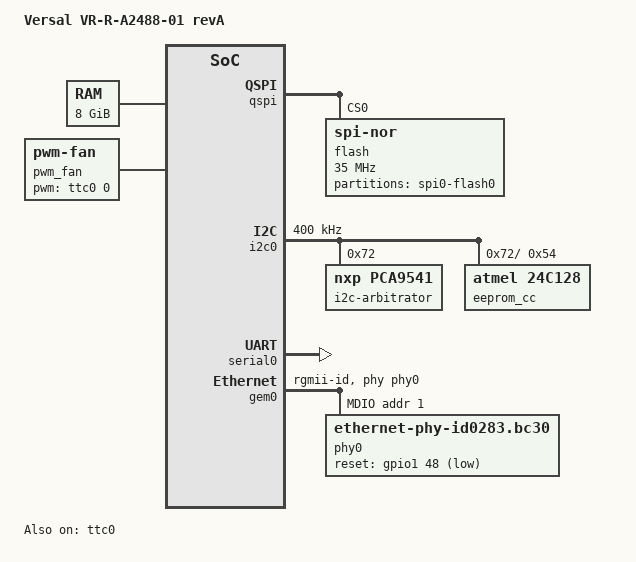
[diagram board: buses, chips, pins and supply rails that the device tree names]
// SPDX-License-Identifier: GPL-2.0
/*
 * dts file for Xilinx Versal VR-R-A2488-01-revA
 *
 * (C) Copyright 2025, Advanced Micro Devices, Inc.
 *
 * Michal Simek <michal.simek@amd.com>
 */

#include <dt-bindings/gpio/gpio.h>
#include "versal.dtsi"
#include "versal-clk.dtsi"

/ {
	compatible = "xlnx,versal-vr-r-a2488-01-revA",
		     "xlnx,versal-vr-r-a2488-01", "xlnx,versal";
	model = "Versal VR-R-A2488-01 revA";

	memory: memory@0 {
		device_type = "memory";
		/* TODO board should have 4 * 4GB */
		reg = <0 0 0 0x80000000>, <0x8 0x00000000 0x1 0x80000000>; /* 2GB + 6GB */
	};

	chosen {
		bootargs = "console=ttyAMA0 earlycon=pl011,mmio32,0xFF000000,115200n8";
		stdout-path = "serial0:115200";
	};

	aliases {
		spi0 = &qspi;
		serial0 = &serial0;
		serial2 = &dcc;
		i2c0 = &i2c0;
		rtc0 = &rtc;
		nvmem0 = &eeprom;
	};

	pwm_fan: pwm-fan {
		compatible = "pwm-fan";
		status = "okay";
		pwms = <&ttc0 0 40000 0>; /* TODO check polarity */
	};
};

&ttc0 { /* LPD MIO21 PWM, LPD MIO22 TACH */
	status = "okay";
	#pwm-cells = <3>;
};

&qspi { /* PMC MIO0 - 12, u1760/u1761 MT25QU01G - dual parallel */
	status = "okay"; /* u93 and u92 */
	num-cs = <2>;
	spi-rx-bus-width = <4>;
	spi-tx-bus-width = <4>;

	flash@0 {
		compatible = "jedec,spi-nor";
		reg = <0>, <1>;
		parallel-memories = /bits/ 64 <0x8000000 0x8000000>; /* 128MB */
		spi-tx-bus-width = <4>;
		spi-rx-bus-width = <4>;
		spi-max-frequency = <35000000>;
		partitions {
			compatible = "fixed-partitions";
			#address-cells = <1>;
			#size-cells = <1>;
			partition@0 {
				label = "spi0-flash0";
				reg = <0x0 0x10000000>;
			};
		};
	};
};

&i2c0 { /* PMC_MIO26/27 */
	status = "okay";
	/* J182 2-3 enable u485 */
	bootph-all;
	clock-frequency = <400000>;

	i2c-arbitrator@72 { /* u1804 */
		compatible = "nxp,pca9541";
		reg = <0x72>;

		i2c_arb: i2c-arb {
			#address-cells = <1>;
			#size-cells = <0>;

			eeprom: eeprom@54 { /* u486 - required by spec */
				compatible = "atmel,24c128";
				label = "eeprom_cc";
				reg = <0x54>;
			};
		};
	};

};

&serial0 { /* PMC_MIO34/35 */
	status = "okay";
};

&gem0 { /* PMC_MIO 38-49, MDIO PMC 50-51 */
	status = "okay";
	phy-handle = <&phy0>;
	phy-mode = "rgmii-id";
	mdio: mdio {
		#address-cells = <1>;
		#size-cells = <0>;
		phy0: ethernet-phy@1 { /* u1802 - ADI1300 */
			#phy-cells = <1>;
			compatible = "ethernet-phy-id0283.bc30";
			reg = <1>;
			adi,rx-internal-delay-ps = <2000>;
			adi,tx-internal-delay-ps = <2000>;
			adi,fifo-depth-bits = <8>;
			/* Missing separate GPIO reset */
			reset-gpios = <&gpio1 48 GPIO_ACTIVE_LOW>;
			reset-assert-us = <10>;
			reset-deassert-us = <5000>;
		};
	};
};
